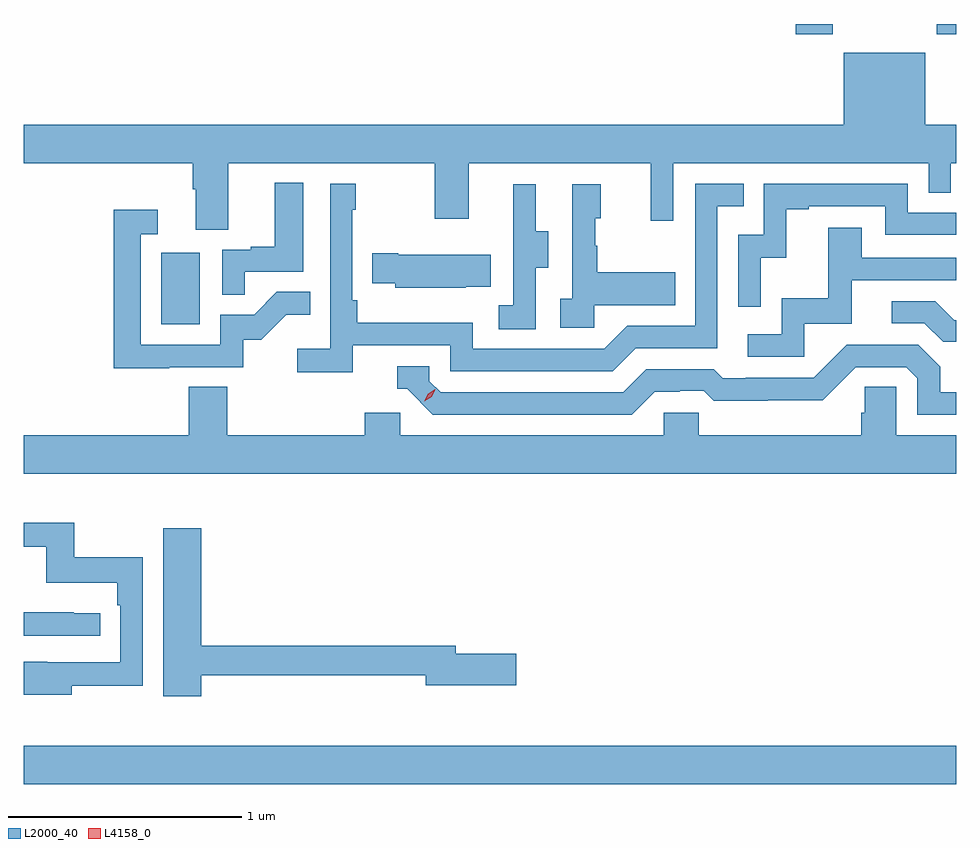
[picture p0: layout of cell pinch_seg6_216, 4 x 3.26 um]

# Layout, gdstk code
import gdstk
lib = gdstk.Library(unit=1e-6, precision=1e-09)
def R(c, l, rs):  # rectangles x0, y0, x1, y1
    for r in rs: c.add(gdstk.rectangle(r[:2], r[2:], *l))
def P(c, l, *ps):  # polygons
    for p in ps: c.add(gdstk.Polygon(p, *l))
L2000_40 = (2000, 40)
L4158_0 = (4158, 0)

pinch_seg6_216 = lib.new_cell('pinch_seg6_216')
R(pinch_seg6_216, L2000_40, [(1083.366,928.688,1087.366,928.852), (1083.956,930.66,1084.12,930.967), (1086.677,931.905,1086.837,931.949), (1087.282,931.905,1087.366,931.949)])
P(pinch_seg6_216, L2000_40, [(1084.243,931.352),(1085.128,931.352),(1085.128,931.113),(1085.275,931.113),(1085.275,931.352),(1086.056,931.352),(1086.056,931.104),(1086.153,931.104),(1086.153,931.352),(1087.248,931.352),(1087.248,931.225),(1087.344,931.225),(1087.344,931.352),(1087.366,931.352),(1087.366,931.516),(1087.234,931.516),(1087.234,931.825),(1086.884,931.825),(1086.884,931.516),(1083.366,931.516),(1083.366,931.352),(1084.091,931.352),(1084.091,931.24),(1084.103,931.24),(1084.103,931.066),(1084.243,931.066)],
  [(1084.313,930.885),(1084.564,930.885),(1084.564,931.267),(1084.442,931.267),(1084.442,930.994),(1084.339,930.994),(1084.339,930.981),(1084.218,930.981),(1084.218,930.787),(1084.313,930.787)],
  [(1084.778,930.57),(1085.196,930.57),(1085.196,930.459),(1085.893,930.459),(1085.992,930.558),(1086.342,930.558),(1086.342,931.167),(1086.455,931.167),(1086.455,931.263),(1086.246,931.263),(1086.246,930.654),(1085.955,930.654),(1085.856,930.555),(1085.292,930.555),(1085.292,930.667),(1084.796,930.667),(1084.796,930.763),(1084.776,930.763),(1084.776,931.151),(1084.789,931.151),(1084.789,931.264),(1084.68,931.264),(1084.68,930.556),(1084.539,930.556),(1084.539,930.454),(1084.778,930.454)],
  [(1086.528,930.947),(1086.638,930.947),(1086.638,931.155),(1086.733,931.155),(1086.733,931.167),(1087.062,931.167),(1087.062,931.044),(1087.366,931.044),(1087.366,931.14),(1087.158,931.14),(1087.158,931.263),(1086.54,931.263),(1086.54,931.044),(1086.432,931.044),(1086.432,930.735),(1086.528,930.735)],
  [(1085.814,930.743),(1086.161,930.743),(1086.161,930.883),(1085.827,930.883),(1085.827,930.998),(1085.817,930.998),(1085.817,931.116),(1085.842,931.116),(1085.842,931.261),(1085.718,931.261),(1085.718,930.77),(1085.667,930.77),(1085.667,930.645),(1085.814,930.645)],
  [(1085.562,930.904),(1085.617,930.904),(1085.617,931.059),(1085.563,931.059),(1085.563,931.261),(1085.465,931.261),(1085.465,931.047),(1085.466,931.047),(1085.466,930.743),(1085.403,930.743),(1085.403,930.64),(1085.562,930.64)],
  [(1083.989,930.477),(1084.308,930.477),(1084.308,930.594),(1084.384,930.594),(1084.491,930.701),(1084.595,930.701),(1084.595,930.8),(1084.452,930.8),(1084.354,930.702),(1084.209,930.702),(1084.209,930.573),(1083.867,930.573),(1083.867,931.047),(1083.94,931.047),(1083.94,931.153),(1083.751,931.153),(1083.751,930.472),(1083.989,930.472)],
  [(1086.714,930.663),(1086.919,930.663),(1086.919,930.849),(1087.366,930.849),(1087.366,930.945),(1086.961,930.945),(1086.961,931.075),(1086.817,931.075),(1086.817,930.772),(1086.618,930.772),(1086.618,930.618),(1086.471,930.618),(1086.471,930.522),(1086.714,930.522)],
  [(1085.261,930.821),(1085.369,930.821),(1085.369,930.958),(1084.972,930.958),(1084.972,930.966),(1084.861,930.966),(1084.861,930.836),(1084.959,930.836),(1084.959,930.818),(1085.261,930.818)],
  [(1087.366,930.678),(1087.357,930.678),(1087.276,930.759),(1087.089,930.759),(1087.089,930.666),(1087.23,930.666),(1087.31,930.586),(1087.366,930.586)],
  [(1086.073,930.372),(1086.18,930.372),(1086.18,930.375),(1086.283,930.375),(1086.325,930.333),(1086.558,930.333),(1086.558,930.335),(1086.794,930.335),(1086.936,930.477),(1087.152,930.477),(1087.2,930.429),(1087.2,930.273),(1087.366,930.273),(1087.366,930.369),(1087.297,930.369),(1087.297,930.479),(1087.203,930.573),(1086.897,930.573),(1086.756,930.432),(1086.463,930.432),(1086.463,930.429),(1086.364,930.429),(1086.325,930.468),(1086.036,930.468),(1085.937,930.369),(1085.154,930.369),(1085.106,930.417),(1085.106,930.48),(1084.967,930.48),(1084.967,930.384),(1085.01,930.384),(1085.121,930.273),(1085.974,930.273)],
  [(1087.366,930.184),(1087.11,930.184),(1087.11,930.392),(1086.973,930.392),(1086.973,930.282),(1086.959,930.282),(1086.959,930.184),(1086.261,930.184),(1086.261,930.282),(1086.111,930.282),(1086.111,930.184),(1084.98,930.184),(1084.98,930.282),(1084.829,930.282),(1084.829,930.184),(1084.238,930.184),(1084.238,930.392),(1084.073,930.392),(1084.073,930.184),(1083.366,930.184),(1083.366,930.02),(1087.366,930.02)],
  [(1083.571,929.11),(1083.876,929.11),(1083.876,929.662),(1083.583,929.662),(1083.583,929.808),(1083.366,929.808),(1083.366,929.707),(1083.462,929.707),(1083.462,929.552),(1083.767,929.552),(1083.767,929.456),(1083.78,929.456),(1083.78,929.211),(1083.467,929.211),(1083.467,929.212),(1083.366,929.212),(1083.366,929.072),(1083.571,929.072)],
  [(1084.126,929.154),(1085.09,929.154),(1085.09,929.111),(1085.479,929.111),(1085.479,929.246),(1085.218,929.246),(1085.218,929.282),(1084.126,929.282),(1084.126,929.785),(1083.965,929.785),(1083.965,929.064),(1084.126,929.064)],
  [(1083.694,929.421),(1083.581,929.421),(1083.581,929.426),(1083.366,929.426),(1083.366,929.325),(1083.694,929.325)])
P(pinch_seg6_216, L4158_0, [(1085.083,930.33),(1085.083,930.331),(1085.1,930.363),(1085.131,930.382),(1085.131,930.382),(1085.131,930.382),(1085.115,930.349),(1085.084,930.33)])

lib.write_gds('pinch_seg6_216.gds')
